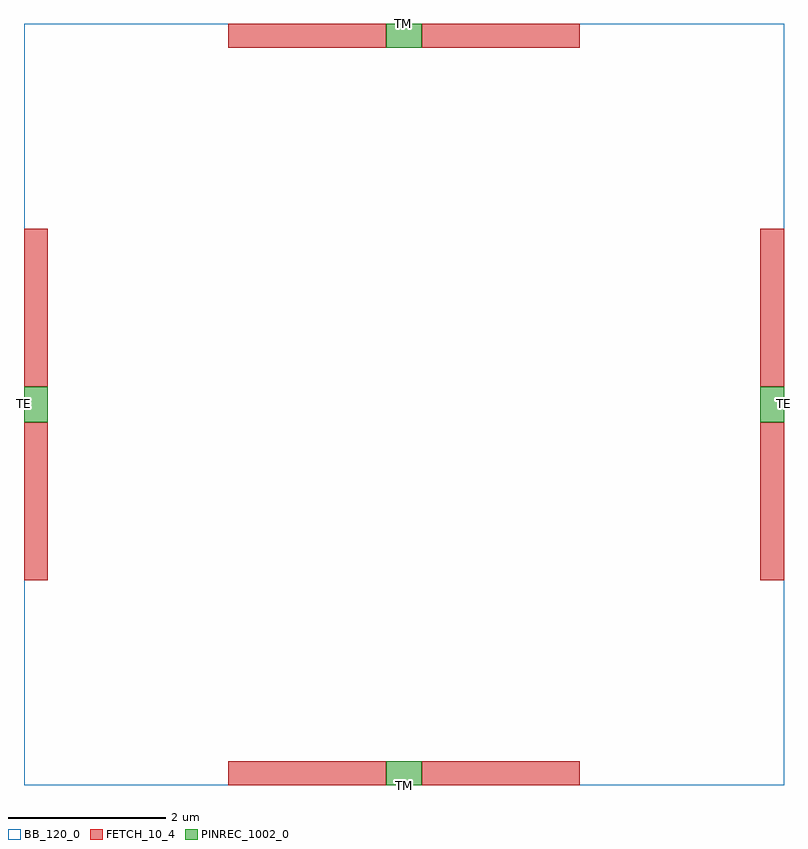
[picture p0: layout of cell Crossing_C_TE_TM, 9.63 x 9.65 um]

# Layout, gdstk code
import gdstk
lib = gdstk.Library(unit=1e-6, precision=1e-09)
def R(c, l, rs):  # rectangles x0, y0, x1, y1
    for r in rs: c.add(gdstk.rectangle(r[:2], r[2:], *l))
FETCH_10_4 = (10, 4)
BB_120_0 = (120, 0)
PINREC_1002_0 = (1002, 0)

crossing_c_te_tm = lib.new_cell('Crossing_C_TE_TM')
R(crossing_c_te_tm, FETCH_10_4, [(2.59,0,4.59,0.3), (5.04,0,7.04,0.3), (0,2.598,0.3,4.598), (9.329,2.598,9.629,4.598), (0,5.048,0.3,7.048), (9.329,5.048,9.629,7.048), (2.59,9.346,4.59,9.646), (5.04,9.346,7.04,9.646)])
R(crossing_c_te_tm, BB_120_0, [(0,0,9.629,9.646)])
R(crossing_c_te_tm, PINREC_1002_0, [(4.59,0,5.04,0.3), (0,4.598,0.3,5.048), (9.329,4.598,9.629,5.048), (4.59,9.346,5.04,9.646)])
crossing_c_te_tm.add(gdstk.Label('TM', (4.819,0), layer=1000, texttype=0))
crossing_c_te_tm.add(gdstk.Label('TM', (4.803,9.646), layer=1000, texttype=0))
crossing_c_te_tm.add(gdstk.Label('TE', (9.629,4.841), layer=1000, texttype=0))
crossing_c_te_tm.add(gdstk.Label('TE', (0,4.83), layer=1000, texttype=0))

lib.write_gds('Crossing_C_TE_TM.gds')
